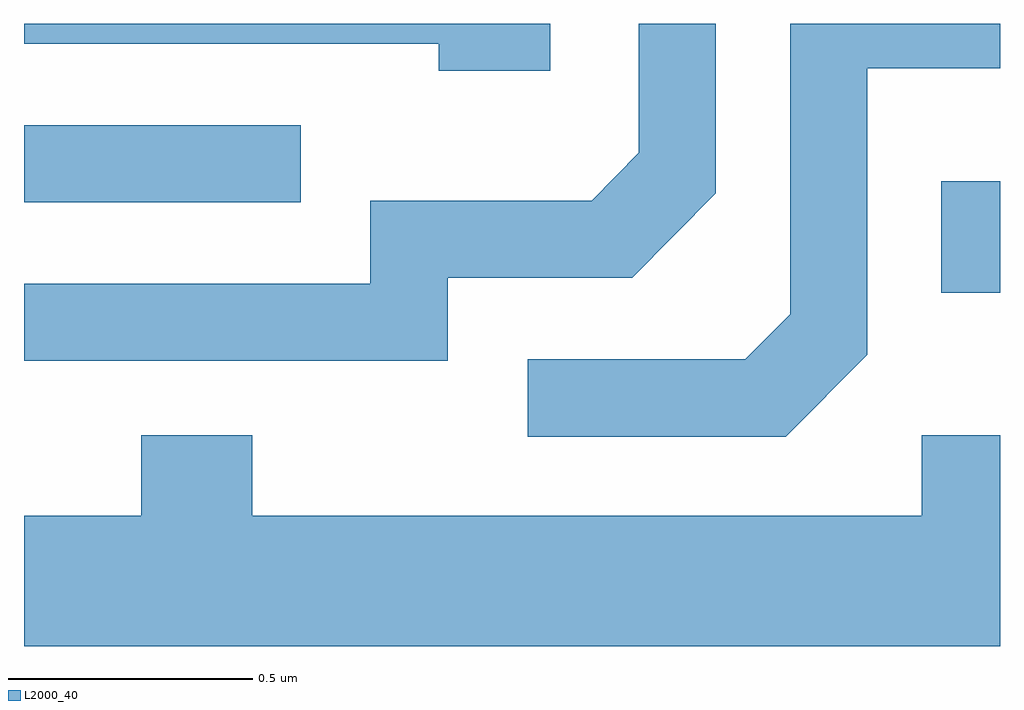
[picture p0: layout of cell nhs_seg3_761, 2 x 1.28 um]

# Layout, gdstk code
import gdstk
lib = gdstk.Library(unit=1e-6, precision=1e-09)
def R(c, l, rs):  # rectangles x0, y0, x1, y1
    for r in rs: c.add(gdstk.rectangle(r[:2], r[2:], *l))
def P(c, l, *ps):  # polygons
    for p in ps: c.add(gdstk.Polygon(p, *l))
L2000_40 = (2000, 40)

nhs_seg3_761 = lib.new_cell('nhs_seg3_761')
R(nhs_seg3_761, L2000_40, [(192.491,1193.341,192.611,1193.569), (190.611,1193.526,191.178,1193.684)])
P(nhs_seg3_761, L2000_40, [(191.479,1193.371),(191.857,1193.371),(192.029,1193.544),(192.029,1193.892),(191.871,1193.892),(191.871,1193.627),(191.774,1193.529),(191.321,1193.529),(191.321,1193.359),(190.611,1193.359),(190.611,1193.201),(191.479,1193.201)],
  [(191.689,1193.892),(190.611,1193.892),(190.611,1193.851),(191.461,1193.851),(191.461,1193.796),(191.689,1193.796)],
  [(192.339,1193.214),(192.339,1193.801),(192.611,1193.801),(192.611,1193.892),(192.181,1193.892),(192.181,1193.297),(192.089,1193.204),(191.643,1193.204),(191.643,1193.046),(192.172,1193.046)],
  [(192.611,1193.049),(192.451,1193.049),(192.451,1192.884),(191.079,1192.884),(191.079,1193.049),(190.851,1193.049),(190.851,1192.884),(190.611,1192.884),(190.611,1192.616),(192.611,1192.616)])

lib.write_gds('nhs_seg3_761.gds')
